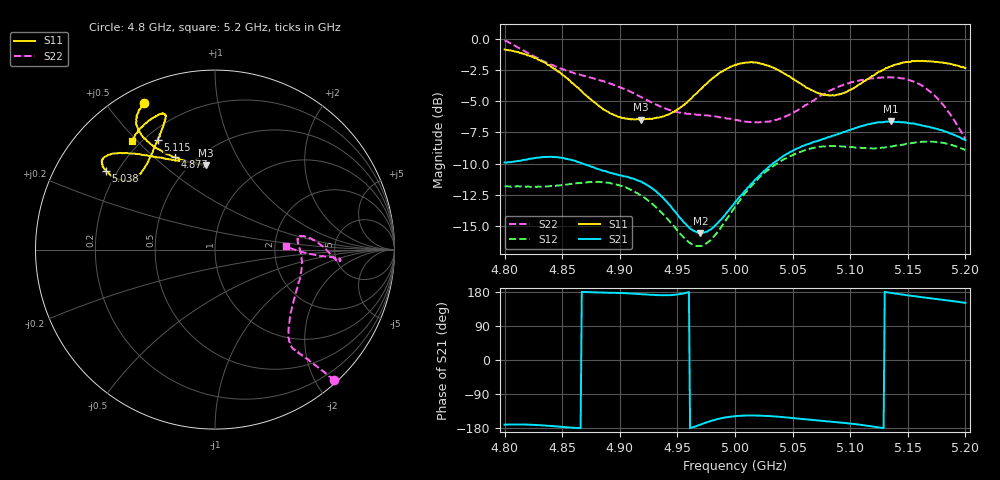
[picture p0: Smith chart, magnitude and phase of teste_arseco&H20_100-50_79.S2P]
! Network Analyzer HP8722D
! Hewlett-Packard
! Data name: Linha & Wilkinson
! Saver's name: Rodrigo Anjos
! Comments: Teste da utilização de aquisição
! continua pelo VNA HP8722D
! Time and date: 6/5/2025 13:13
!  Frequency  S11  S21  S12  S22
# HZ  S  MA R 50
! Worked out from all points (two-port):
!   401 points, 4.8 GHz to 5.2 GHz, reference 50 ohm
!   highest |S21| = -6.61 dB at 5.135 GHz (marker M1); lowest = -15.6 dB at 4.97 GHz (marker M2)
!   |S21| within 3 dB of the highest: 4.822 GHz to 4.853 GHz (30.74 MHz wide, 0.635 % of centre); 5.039 GHz to end of sweep (the widest 2 of 3)
!   lowest |S11| = -6.5 dB at 4.918 GHz (marker M3), VSWR 2.80, Z = 29.2 + j35.5 ohm
!   |S11| at or under -10 dB: nowhere
!   |S22| runs from -8.0 to -0.1 dB; largest |S21 - S12| = 0.83
!   S11 on the Smith chart (normalised r, x): 4.8 GHz: 0.07, +0.62; 4.877 GHz: 0.39, +0.58; 5.038 GHz: 0.16, +0.32; 5.115 GHz: 0.25, +0.58; 5.2 GHz: 0.17, +0.48
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4.8e9  0.9061 115.9  0.3203 -170.5  0.2568 -86.0  0.9836 -47.5
4.819e9  0.8642 120.4  0.3287 -170.4  0.2556 -81.9  0.8826 -48.8
4.835e9  0.8014 122.4  0.337 -172.8  0.2567 -76.6  0.8085 -49.7
4.867e9  0.6153 118.0  0.3175 179.8  0.2653 -67.4  0.7147 -51.4
4.877e9  0.5614 113.5  0.3063 178.6  0.2679 -66.2  0.6939 -51.9
4.901e9  0.4837 100.8  0.2839 176.7  0.2579 -66.7  0.6371 -50.1
4.918e9  0.4739 96.1  0.2686 173.8  0.2367 -68.7  0.5851 -45.3
4.934e9  0.4839 99.3  0.2395 171.0  0.207 -69.4  0.5383 -37.5
4.949e9  0.5167 108.6  0.2007 172.8  0.1733 -66.1  0.5096 -27.9
4.97e9  0.6273 124.1  0.1668 -170.4  0.1484 -46.6  0.4948 -14.4
4.981e9  0.6966 129.9  0.1758 -159.2  0.1606 -33.9  0.4894 -8.8
5e9  0.7857 137.2  0.2217 -148.4  0.2128 -21.5  0.4737 -0.4
5.019e9  0.8022 141.8  0.2771 -146.7  0.2722 -18.4  0.4633 5.8
5.038e9  0.7482 144.2  0.3295 -149.7  0.3203 -18.4  0.4779 8.8
5.067e9  0.6221 142.0  0.3851 -158.0  0.3652 -20.6  0.5624 4.6
5.088e9  0.5962 133.1  0.414 -164.0  0.3722 -23.7  0.6367 -1.7
5.115e9  0.688 117.6  0.4543 -173.6  0.3646 -26.6  0.6899 -5.3
5.134e9  0.7709 111.2  0.4655 177.8  0.3695 -28.8  0.7012 -4.8
5.135e9  0.7751 111.2  0.4675 177.3  0.3708 -28.8  0.7 -4.7
5.161e9  0.8138 112.3  0.452 166.1  0.3866 -35.0  0.655 -3.7
5.18e9  0.8023 118.8  0.4298 158.9  0.3838 -41.0  0.5489 -2.9
5.2e9  0.7631 127.3  0.3928 150.8  0.3589 -46.4  0.3965 2.5
